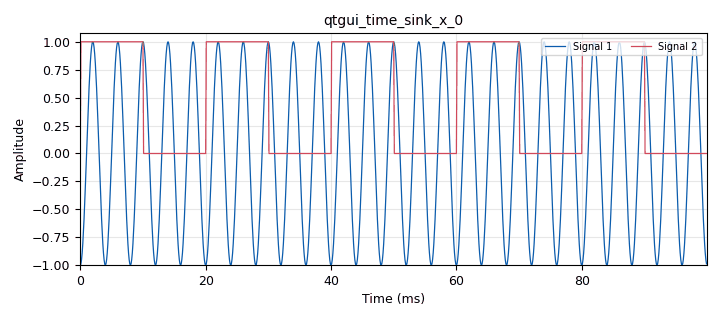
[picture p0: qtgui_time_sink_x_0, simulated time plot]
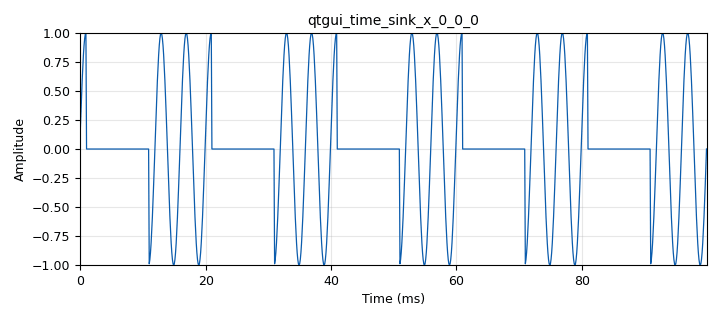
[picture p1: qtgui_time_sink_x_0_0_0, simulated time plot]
options:
  parameters:
    generate_options: qt_gui
    id: Ch03_021_sig_modulate_ASK
    output_language: python
    title: Signal Modulation Amplitude Shift Keying (ASK)
  states: {}

blocks:
- name: Msg
  id: variable
  parameters:
    value: (0, 1, 0, 1, 1, 1, 0, 1, 1, 0, 1, 0, 1, 1, 1, 0)
  states: {}
- name: Select_Msg2
  id: variable_qtgui_chooser
  parameters:
    gui_hint: (3,0)
    label: Select Message
    label0: Sq Wave 50 Hz
    label1: Msg (vector Source)
    num_opts: '2'
    option1: '1'
    type: int
    value: '0'
    widget: radio_buttons
  states: {}
- name: samp_rate
  id: variable
  parameters:
    value: int(10e3)
  states: {}
- name: sq_wav_offset
  id: variable_qtgui_range
  parameters:
    gui_hint: (3,1)
    label: Sq Wave off-set
    orient: Qt.Horizontal
    start: '0'
    step: '.05'
    stop: '.75'
    value: '0'
  states: {}
- name: analog_frequency_modulator_fc_0
  id: analog_frequency_modulator_fc
  parameters: {}
  states: {state: disabled}
- name: analog_sig_source_x_0
  id: analog_sig_source_x
  parameters:
    amp: '1'
    freq: '250'
    offset: '0'
    phase: '0'
    samp_rate: samp_rate
    type: float
    waveform: analog.GR_COS_WAVE
  states: {}
- name: analog_sig_source_x_0_0
  id: analog_sig_source_x
  parameters:
    amp: '1'
    freq: '50'
    offset: '0'
    phase: '0'
    samp_rate: samp_rate
    type: float
    waveform: analog.GR_SQR_WAVE
  states: {}
- name: blocks_add_const_vxx_0
  id: blocks_add_const_vxx
  parameters:
    const: sq_wav_offset
    type: float
  states: {}
- name: blocks_complex_to_real_0
  id: blocks_complex_to_real
  parameters: {}
  states: {state: disabled}
- name: blocks_multiply_const_vxx_0
  id: blocks_multiply_const_vxx
  parameters:
    const: 1/(1+sq_wav_offset)
    type: float
  states: {}
- name: blocks_multiply_xx_0
  id: blocks_multiply_xx
  parameters:
    type: float
  states: {}
- name: blocks_repeat_1
  id: blocks_repeat
  parameters:
    interp: '60'
    type: float
  states: {}
- name: blocks_selector_0
  id: blocks_selector
  parameters:
    enabled: 'True'
    input_index: Select_Msg2
    num_inputs: '2'
    num_outputs: '1'
    output_index: '0'
    type: float
  states: {}
- name: blocks_vector_source_x_0
  id: blocks_vector_source_x
  parameters:
    repeat: 'True'
    type: float
    vector: Msg
  states: {}
- name: qtgui_time_sink_x_0
  id: qtgui_time_sink_x
  parameters:
    ctrlpanel: 'True'
    entags: 'False'
    gui_hint: (0,0,1, 2)
    nconnections: '2'
    size: '1000'
    srate: samp_rate
    tr_chan: '1'
    tr_level: '0'
    tr_mode: qtgui.TRIG_MODE_AUTO
    type: float
    width2: '2'
  states: {}
- name: qtgui_time_sink_x_0_0_0
  id: qtgui_time_sink_x
  parameters:
    ctrlpanel: 'True'
    gui_hint: (2,0,1,2)
    size: '1000'
    srate: samp_rate
    tr_level: '.25'
    tr_mode: qtgui.TRIG_MODE_AUTO
    type: float
  states: {}
- name: qtgui_time_sink_x_0_0_0_0
  id: qtgui_time_sink_x
  parameters:
    ctrlpanel: 'True'
    gui_hint: (2,0,1,2)
    name: '"Frequency Modulated Signal"'
    size: '1000'
    srate: samp_rate
    tr_level: '.25'
    tr_mode: qtgui.TRIG_MODE_AUTO
    type: float
  states: {state: disabled}

connections:
- [analog_frequency_modulator_fc_0, '0', blocks_complex_to_real_0, '0']
- [analog_sig_source_x_0, '0', blocks_multiply_xx_0, '0']
- [analog_sig_source_x_0, '0', qtgui_time_sink_x_0, '0']
- [analog_sig_source_x_0_0, '0', blocks_selector_0, '0']
- [blocks_add_const_vxx_0, '0', blocks_multiply_const_vxx_0, '0']
- [blocks_complex_to_real_0, '0', qtgui_time_sink_x_0_0_0_0, '0']
- [blocks_multiply_const_vxx_0, '0', blocks_multiply_xx_0, '1']
- [blocks_multiply_const_vxx_0, '0', qtgui_time_sink_x_0, '1']
- [blocks_multiply_xx_0, '0', qtgui_time_sink_x_0_0_0, '0']
- [blocks_repeat_1, '0', blocks_selector_0, '1']
- [blocks_selector_0, '0', analog_frequency_modulator_fc_0, '0']
- [blocks_selector_0, '0', blocks_add_const_vxx_0, '0']
- [blocks_vector_source_x_0, '0', blocks_repeat_1, '0']

metadata:
  file_format: 1
